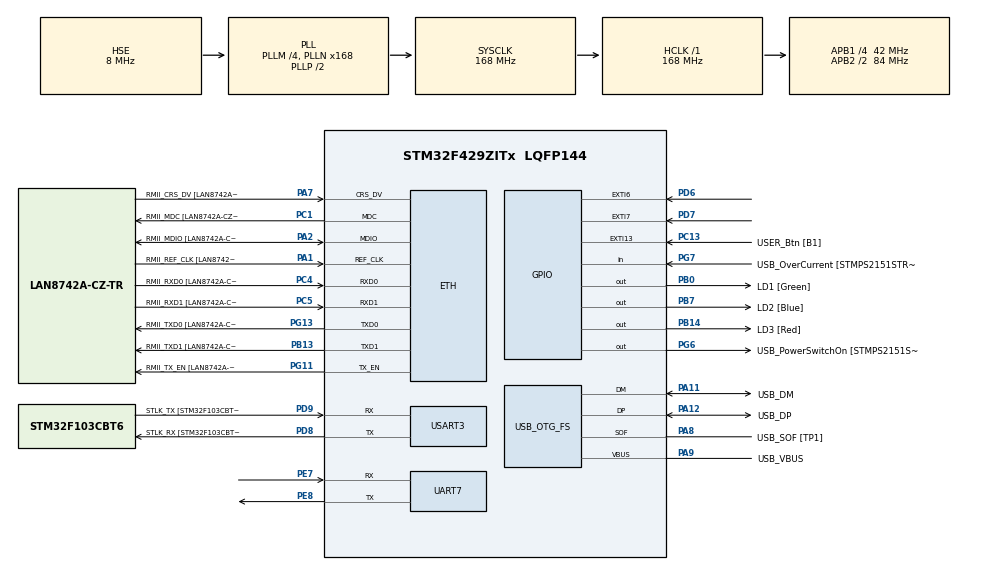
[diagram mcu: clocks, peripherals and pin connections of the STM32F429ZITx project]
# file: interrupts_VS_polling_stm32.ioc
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Mcu.Family=STM32F4
FREERTOS.Queues01=interruptions_queue,16,uint16_t,0,Dynamic,NULL,NULL
RCC.CortexFreq_Value=168000000
PG6.Signal=GPIO_Output
PB14.GPIO_Label=LD3 [Red]
PG6.GPIO_Label=USB_PowerSwitchOn [STMPS2151STR_EN]
PA14.GPIO_Label=TCK
RCC.SYSCLKSourceVirtual=RCC_SYSCLKSOURCE_PLLCLK
PA11.Mode=Device_Only
PB0.GPIO_Label=LD1 [Green]
PC14/OSC32_IN.Mode=LSE-External-Oscillator
PC5.Mode=RMII
PC13.GPIO_Label=USER_Btn [B1]
PB13.GPIO_Label=RMII_TXD1 [LAN8742A-CZ-TR_TXD1]
PB13.Signal=ETH_TXD1
PG13.Signal=ETH_TXD0
PD9.Mode=Asynchronous
PG11.Signal=ETH_TX_EN
RCC.SYSCLKSource=RCC_SYSCLKSOURCE_PLLCLK
ProjectManager.StackSize=0x400
VP_FREERTOS_VS_CMSIS_V2.Mode=CMSIS_V2
PA12.Signal=USB_OTG_FS_DP
ETH.PHY_Value=0
PH0/OSC_IN.Mode=HSE-External-Clock-Source
RCC.HCLKFreq_Value=168000000
RCC.APB2TimFreq_Value=168000000
PH1/OSC_OUT.Signal=RCC_OSC_OUT
PD8.Signal=USART3_TX
RCC.AHBFreq_Value=168000000
RCC.HSE_VALUE=8000000
RCC.PLLMUL=RCC_PLL_MUL9
PC4.GPIO_Label=RMII_RXD0 [LAN8742A-CZ-TR_RXD0]
PA14.Mode=Serial_Wire
VP_SYS_VS_tim1.Mode=TIM1
PA10.GPIO_Label=USB_ID
PB7.Signal=GPIO_Output
PA8.Signal=USB_OTG_FS_SOF
PG13.Mode=RMII
ETH.PHY_Name=LAN8742A_PHY_ADDRESS
PH1/OSC_OUT.Mode=HSE-External-Clock-Source
PB7.GPIO_Label=LD2 [Blue]
Mcu.Package=LQFP144
NVIC.TimeBase=TIM1_UP_TIM10_IRQn
PC14/OSC32_IN.Signal=RCC_OSC32_IN
PA2.GPIO_Label=RMII_MDIO [LAN8742A-CZ-TR_MDIO]
NVIC.TimeBaseIP=TIM1
PA10.Signal=USB_OTG_FS_ID
USB_OTG_FS.VirtualMode=Device_Only
RCC.APB2CLKDivider=RCC_HCLK_DIV2
RCC.APB1TimFreq_Value=84000000
PG11.GPIO_Label=RMII_TX_EN [LAN8742A-CZ-TR_TXEN]
PC5.Signal=ETH_RXD1
PB13.Mode=RMII
PE7.Signal=UART7_RX
PD6.Signal=GPXTI6
PC4.Mode=RMII
FREERTOS.Tasks01=polling,24,128,default_polling,Default,NULL,Dynamic,NULL,NULL;polling_2,24,128,second_polling,Default,NULL,Dynamic,NULL,NULL;interrupts,24,128,dealing_with_interruptions,Default,NULL,Dynamic,NULL,NULL
PA7.Mode=RMII
PG7.Signal=GPIO_Input
PD9.GPIO_Label=STLK_TX [STM32F103CBT6_PA2]
PC13.Signal=GPXTI13
PA9.GPIO_Label=USB_VBUS
PC4.Signal=ETH_RXD0
PD7.Signal=GPXTI7
PA11.GPIO_Label=USB_DM
PD9.Signal=USART3_RX
UART7.VirtualMode=Asynchronous
RCC.APB1CLKDivider=RCC_HCLK_DIV4
PG13.GPIO_Label=RMII_TXD0 [LAN8742A-CZ-TR_TXD0]
ETH.PhyAddress=0
PA12.GPIO_Label=USB_DP
PD8.GPIO_Label=STLK_RX [STM32F103CBT6_PA3]
PE8.Mode=Asynchronous
PA13.Signal=SYS_JTMS-SWDIO
PA9.Mode=Activate_VBUS
PA8.GPIO_Label=USB_SOF [TP1]
ProjectManager.TargetToolchain=TrueSTUDIO
PA9.Signal=USB_OTG_FS_VBUS
RCC.USBFreq_Value=48000000
PD8.Mode=Asynchronous
PA1.Signal=ETH_REF_CLK
PB14.Signal=GPIO_Output
board=NUCLEO-F429ZI
RCC.VCOOutputFreq_Value=336000000
PH0/OSC_IN.Signal=RCC_OSC_IN
RCC.APB2Freq_Value=84000000
PA1.Mode=RMII
RCC.PRESCALERUSB=RCC_USBCLKSOURCE_PLL_DIV1_5
PE8.Signal=UART7_TX
PG7.GPIO_Label=USB_OverCurrent [STMPS2151STR_FAULT]
PA1.GPIO_Label=RMII_REF_CLK [LAN8742A-CZ-TR_REFCLK0]
PC1.GPIO_Label=RMII_MDC [LAN8742A-CZ-TR_MDC]
PA13.Mode=Serial_Wire
Mcu.Name=STM32F429ZITx
PA2.Signal=ETH_MDIO
PA13.GPIO_Label=TMS
RCC.APB2TimCLKDivider=2
RCC.48MHZClocksFreq_Value=48000000
RCC.SYSCLKFreq_VALUE=168000000
PE7.Mode=Asynchronous
ETH.MediaInterface=ETH_MEDIA_INTERFACE_RMII
PA7.GPIO_Label=RMII_CRS_DV [LAN8742A-CZ-TR_CRS_DV]
PA12.Mode=Device_Only
PC5.GPIO_Label=RMII_RXD1 [LAN8742A-CZ-TR_RXD1]
USART3.VirtualMode=VM_ASYNC
PC15/OSC32_OUT.Mode=LSE-External-Oscillator
PG11.Mode=RMII
PA11.Signal=USB_OTG_FS_DM
NVIC.EXTI9_5_IRQn=true\:0\:0\:false\:false\:true\:false\:true\:true
PA14.Signal=SYS_JTCK-SWCLK
ProjectManager.HeapSize=0x200
NVIC.TIM1_UP_TIM10_IRQn=true\:0\:0\:false\:false\:true\:false\:false\:true
RCC.HSI_VALUE=16000000
PH0/OSC_IN.GPIO_Label=MCO [STM32F103CBT6_PA8]
RCC.PLLQ=7
NVIC.PriorityGroup=NVIC_PRIORITYGROUP_4
RCC.PLLM=4
RCC.PLLN=168
PA2.Mode=RMII
PC15/OSC32_OUT.Signal=RCC_OSC32_OUT
PA8.Mode=Activate_SOF_FS
RCC.APB1Freq_Value=42000000
PB0.Signal=GPIO_Output
PC1.Signal=ETH_MDC
PC1.Mode=RMII
PA7.Signal=ETH_CRS_DV

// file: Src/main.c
/* USER CODE BEGIN Header */
/**
 ******************************************************************************
 * @file           : main.c
 * @brief          : Main program body
 ******************************************************************************
 * @attention
 *
 * <h2><center>&copy; Copyright (c) 2020 STMicroelectronics.
 * All rights reserved.</center></h2>
 *
 * This software component is licensed by ST under Ultimate Liberty license
 * SLA0044, the "License"; You may not use this file except in compliance with
 * the License. You may obtain a copy of the License at:
 *                             www.st.com/SLA0044
 *
 ******************************************************************************
 */
/* USER CODE END Header */

#include "main.h"
#include "cmsis_os.h"

ETH_HandleTypeDef heth;

UART_HandleTypeDef huart7;
UART_HandleTypeDef huart3;

PCD_HandleTypeDef hpcd_USB_OTG_FS;

/* Definitions for polling */
osThreadId_t pollingHandle;
const osThreadAttr_t polling_attributes = {
		.name = "polling",
		.priority = (osPriority_t) osPriorityNormal,
		.stack_size = 128 * 4
};
/* Definitions for polling_2 */
osThreadId_t polling_2Handle;
const osThreadAttr_t polling_2_attributes = {
		.name = "polling_2",
		.priority = (osPriority_t) osPriorityNormal,
		.stack_size = 128 * 4
};
/* Definitions for interrupts */
osThreadId_t interruptsHandle;
const osThreadAttr_t interrupts_attributes = {
		.name = "interrupts",
		.priority = (osPriority_t) osPriorityNormal,
		.stack_size = 128 * 4
};
/* Definitions for interruptions_queue */
osMessageQueueId_t interruptions_queueHandle;
const osMessageQueueAttr_t interruptions_queue_attributes = {
		.name = "interruptions_queue"
};
/* USER CODE BEGIN PV */

int flag_btn_PD6 = 0;
int flag_btn_PD7 = 0;

/* USER CODE END PV */

void SystemClock_Config(void);
static void MX_GPIO_Init(void);
static void MX_ETH_Init(void);
static void MX_USART3_UART_Init(void);
static void MX_USB_OTG_FS_PCD_Init(void);
static void MX_UART7_Init(void);
void default_polling(void *argument);
void second_polling(void *argument);
void dealing_with_interruptions(void *argument);

int main(void)
{

	/* MCU Configuration--------------------------------------------------------*/

	/* Reset of all peripherals, Initializes the Flash interface and the Systick. */
	HAL_Init();

	/* Configure the system clock */
	SystemClock_Config();

	/* Initialize all configured peripherals */
	MX_GPIO_Init();
	MX_ETH_Init();
	MX_USART3_UART_Init();
	MX_USB_OTG_FS_PCD_Init();
	MX_UART7_Init();

	/* Init scheduler */
	osKernelInitialize();

	/* Create the queue(s) */
	/* creation of interruptions_queue */
	interruptions_queueHandle = osMessageQueueNew (16, sizeof(uint16_t), &interruptions_queue_attributes);

	/* Create the thread(s) */
	/* creation of polling */
	pollingHandle = osThreadNew(default_polling, NULL, &polling_attributes);

	/* creation of polling_2 */
	polling_2Handle = osThreadNew(second_polling, NULL, &polling_2_attributes);

	/* creation of interrupts */
	interruptsHandle = osThreadNew(dealing_with_interruptions, NULL, &interrupts_attributes);

	/* Start scheduler */
	osKernelStart();

	/* We should never get here as control is now taken by the scheduler */
	/* Infinite loop */
	while (1)
	{

	}
}

void SystemClock_Config(void)
{
	RCC_OscInitTypeDef RCC_OscInitStruct = {0};
	RCC_ClkInitTypeDef RCC_ClkInitStruct = {0};

	/** Configure the main internal regulator output voltage
	 */
	__HAL_RCC_PWR_CLK_ENABLE();
	__HAL_PWR_VOLTAGESCALING_CONFIG(PWR_REGULATOR_VOLTAGE_SCALE1);
	/** Initializes the CPU, AHB and APB busses clocks
	 */
	RCC_OscInitStruct.OscillatorType = RCC_OSCILLATORTYPE_HSE;
	RCC_OscInitStruct.HSEState = RCC_HSE_BYPASS;
	RCC_OscInitStruct.PLL.PLLState = RCC_PLL_ON;
	RCC_OscInitStruct.PLL.PLLSource = RCC_PLLSOURCE_HSE;
	RCC_OscInitStruct.PLL.PLLM = 4;
	RCC_OscInitStruct.PLL.PLLN = 168;
	RCC_OscInitStruct.PLL.PLLP = RCC_PLLP_DIV2;
	RCC_OscInitStruct.PLL.PLLQ = 7;
	if (HAL_RCC_OscConfig(&RCC_OscInitStruct) != HAL_OK)
	{
		Error_Handler();
	}
	/** Initializes the CPU, AHB and APB busses clocks
	 */
	RCC_ClkInitStruct.ClockType = RCC_CLOCKTYPE_HCLK|RCC_CLOCKTYPE_SYSCLK
			|RCC_CLOCKTYPE_PCLK1|RCC_CLOCKTYPE_PCLK2;
	RCC_ClkInitStruct.SYSCLKSource = RCC_SYSCLKSOURCE_PLLCLK;
	RCC_ClkInitStruct.AHBCLKDivider = RCC_SYSCLK_DIV1;
	RCC_ClkInitStruct.APB1CLKDivider = RCC_HCLK_DIV4;
	RCC_ClkInitStruct.APB2CLKDivider = RCC_HCLK_DIV2;

	if (HAL_RCC_ClockConfig(&RCC_ClkInitStruct, FLASH_LATENCY_5) != HAL_OK)
	{
		Error_Handler();
	}
}

static void MX_ETH_Init(void)
{

	heth.Instance = ETH;
	heth.Init.AutoNegotiation = ETH_AUTONEGOTIATION_ENABLE;
	heth.Init.PhyAddress = LAN8742A_PHY_ADDRESS;
	heth.Init.MACAddr[0] =   0x00;
	heth.Init.MACAddr[1] =   0x80;
	heth.Init.MACAddr[2] =   0xE1;
	heth.Init.MACAddr[3] =   0x00;
	heth.Init.MACAddr[4] =   0x00;
	heth.Init.MACAddr[5] =   0x00;
	heth.Init.RxMode = ETH_RXPOLLING_MODE;
	heth.Init.ChecksumMode = ETH_CHECKSUM_BY_HARDWARE;
	heth.Init.MediaInterface = ETH_MEDIA_INTERFACE_RMII;

	if (HAL_ETH_Init(&heth) != HAL_OK)
	{
		Error_Handler();
	}

}

static void MX_UART7_Init(void)
{

	huart7.Instance = UART7;
	huart7.Init.BaudRate = 115200;
	huart7.Init.WordLength = UART_WORDLENGTH_8B;
	huart7.Init.StopBits = UART_STOPBITS_1;
	huart7.Init.Parity = UART_PARITY_NONE;
	huart7.Init.Mode = UART_MODE_TX_RX;
	huart7.Init.HwFlowCtl = UART_HWCONTROL_NONE;
	huart7.Init.OverSampling = UART_OVERSAMPLING_16;
	if (HAL_UART_Init(&huart7) != HAL_OK)
	{
		Error_Handler();
	}

}

static void MX_USART3_UART_Init(void)
{

	huart3.Instance = USART3;
	huart3.Init.BaudRate = 115200;
	huart3.Init.WordLength = UART_WORDLENGTH_8B;
	huart3.Init.StopBits = UART_STOPBITS_1;
	huart3.Init.Parity = UART_PARITY_NONE;
	huart3.Init.Mode = UART_MODE_TX_RX;
	huart3.Init.HwFlowCtl = UART_HWCONTROL_NONE;
	huart3.Init.OverSampling = UART_OVERSAMPLING_16;
	if (HAL_UART_Init(&huart3) != HAL_OK)
	{
		Error_Handler();
	}

}

static void MX_USB_OTG_FS_PCD_Init(void)
{

	hpcd_USB_OTG_FS.Instance = USB_OTG_FS;
	hpcd_USB_OTG_FS.Init.dev_endpoints = 4;
	hpcd_USB_OTG_FS.Init.speed = PCD_SPEED_FULL;
	hpcd_USB_OTG_FS.Init.dma_enable = DISABLE;
	hpcd_USB_OTG_FS.Init.phy_itface = PCD_PHY_EMBEDDED;
	hpcd_USB_OTG_FS.Init.Sof_enable = ENABLE;
	hpcd_USB_OTG_FS.Init.low_power_enable = DISABLE;
	hpcd_USB_OTG_FS.Init.lpm_enable = DISABLE;
	hpcd_USB_OTG_FS.Init.vbus_sensing_enable = ENABLE;
	hpcd_USB_OTG_FS.Init.use_dedicated_ep1 = DISABLE;
	if (HAL_PCD_Init(&hpcd_USB_OTG_FS) != HAL_OK)
	{
		Error_Handler();
	}

}

static void MX_GPIO_Init(void)
{
	GPIO_InitTypeDef GPIO_InitStruct = {0};

	/* GPIO Ports Clock Enable */
	__HAL_RCC_GPIOC_CLK_ENABLE();
	__HAL_RCC_GPIOH_CLK_ENABLE();
	__HAL_RCC_GPIOA_CLK_ENABLE();
	__HAL_RCC_GPIOB_CLK_ENABLE();
	__HAL_RCC_GPIOE_CLK_ENABLE();
	__HAL_RCC_GPIOD_CLK_ENABLE();
	__HAL_RCC_GPIOG_CLK_ENABLE();

	/*Configure GPIO pin Output Level */
	HAL_GPIO_WritePin(GPIOB, LD1_Pin|LD3_Pin|LD2_Pin, GPIO_PIN_RESET);

	/*Configure GPIO pin Output Level */
	HAL_GPIO_WritePin(USB_PowerSwitchOn_GPIO_Port, USB_PowerSwitchOn_Pin, GPIO_PIN_RESET);

	/*Configure GPIO pin : USER_Btn_Pin */
	GPIO_InitStruct.Pin = USER_Btn_Pin;
	GPIO_InitStruct.Mode = GPIO_MODE_IT_RISING;
	GPIO_InitStruct.Pull = GPIO_NOPULL;
	HAL_GPIO_Init(USER_Btn_GPIO_Port, &GPIO_InitStruct);

	/*Configure GPIO pins : LD1_Pin LD3_Pin LD2_Pin */
	GPIO_InitStruct.Pin = LD1_Pin|LD3_Pin|LD2_Pin;
	GPIO_InitStruct.Mode = GPIO_MODE_OUTPUT_PP;
	GPIO_InitStruct.Pull = GPIO_NOPULL;
	GPIO_InitStruct.Speed = GPIO_SPEED_FREQ_LOW;
	HAL_GPIO_Init(GPIOB, &GPIO_InitStruct);

	/*Configure GPIO pin : USB_PowerSwitchOn_Pin */
	GPIO_InitStruct.Pin = USB_PowerSwitchOn_Pin;
	GPIO_InitStruct.Mode = GPIO_MODE_OUTPUT_PP;
	GPIO_InitStruct.Pull = GPIO_NOPULL;
	GPIO_InitStruct.Speed = GPIO_SPEED_FREQ_LOW;
	HAL_GPIO_Init(USB_PowerSwitchOn_GPIO_Port, &GPIO_InitStruct);

	/*Configure GPIO pin : USB_OverCurrent_Pin */
	GPIO_InitStruct.Pin = USB_OverCurrent_Pin;
	GPIO_InitStruct.Mode = GPIO_MODE_INPUT;
	GPIO_InitStruct.Pull = GPIO_NOPULL;
	HAL_GPIO_Init(USB_OverCurrent_GPIO_Port, &GPIO_InitStruct);

	/*Configure GPIO pins : PD6 PD7 */
	GPIO_InitStruct.Pin = GPIO_PIN_6|GPIO_PIN_7;
	GPIO_InitStruct.Mode = GPIO_MODE_IT_RISING;
	GPIO_InitStruct.Pull = GPIO_NOPULL;
	HAL_GPIO_Init(GPIOD, &GPIO_InitStruct);

	/* EXTI interrupt init*/
	HAL_NVIC_SetPriority(EXTI9_5_IRQn, 0, 0);
	HAL_NVIC_EnableIRQ(EXTI9_5_IRQn);

}

/* USER CODE BEGIN 4 */
void HAL_GPIO_EXTI_Callback(uint16_t GPIO_Pin){
	if (GPIO_Pin == GPIO_PIN_6){
		flag_btn_PD6 = 1;
	}
	if(GPIO_Pin == GPIO_PIN_7){
		flag_btn_PD7 = 1;
	}
}
/* USER CODE END 4 */

void default_polling(void *argument)
{
	/* USER CODE BEGIN 5 */
	// envoi
	char * message = "tu r'gardes de travers !!\n\r";
	/* Infinite loop */
	for(;;)
	{
		if(HAL_GPIO_ReadPin(GPIOD, GPIO_PIN_4)){
			HAL_UART_Transmit(&huart7, (uint8_t*)message, 30, 100);
			HAL_Delay(2000);
		}

		osDelay(1);
	}
	/* USER CODE END 5 */
}

void second_polling(void *argument)
{
	/* USER CODE BEGIN second_polling */
	/* Infinite loop */
	for(;;)
	{
		if(HAL_GPIO_ReadPin(GPIOD, GPIO_PIN_5)){
			HAL_GPIO_WritePin(GPIOB, LD1_Pin, GPIO_PIN_SET);
			HAL_Delay(5000);
			HAL_GPIO_WritePin(GPIOB, LD1_Pin, GPIO_PIN_RESET);
		}
		osDelay(1);
	}
	/* USER CODE END second_polling */
}

void dealing_with_interruptions(void *argument)
{
	/* USER CODE BEGIN dealing_with_interruptions */
	int i = 0;
	/* Infinite loop */
	for(;;)
	{
		if(flag_btn_PD6 == 1){
			for(i=0; i<5; i++){
				HAL_GPIO_TogglePin(GPIOB, GPIO_PIN_0);
				HAL_Delay(200);
				HAL_GPIO_TogglePin(GPIOB, GPIO_PIN_0);
				HAL_Delay(200);
			}
			flag_btn_PD6 = 0;
		}
		if(flag_btn_PD7 == 1){
			for(i=0; i<10; i++){
				HAL_GPIO_TogglePin(GPIOB, GPIO_PIN_0);
				HAL_Delay(100);
				HAL_GPIO_TogglePin(GPIOB, GPIO_PIN_0);
				HAL_Delay(100);
			}
			flag_btn_PD7 = 0;
		}
		osDelay(1);
	}
	/* USER CODE END dealing_with_interruptions */
}

void HAL_TIM_PeriodElapsedCallback(TIM_HandleTypeDef *htim)
{
	if (htim->Instance == TIM1) {
		HAL_IncTick();
	}
}

void Error_Handler(void)
{
}

/************************ (C) COPYRIGHT STMicroelectronics *****END OF FILE****/
